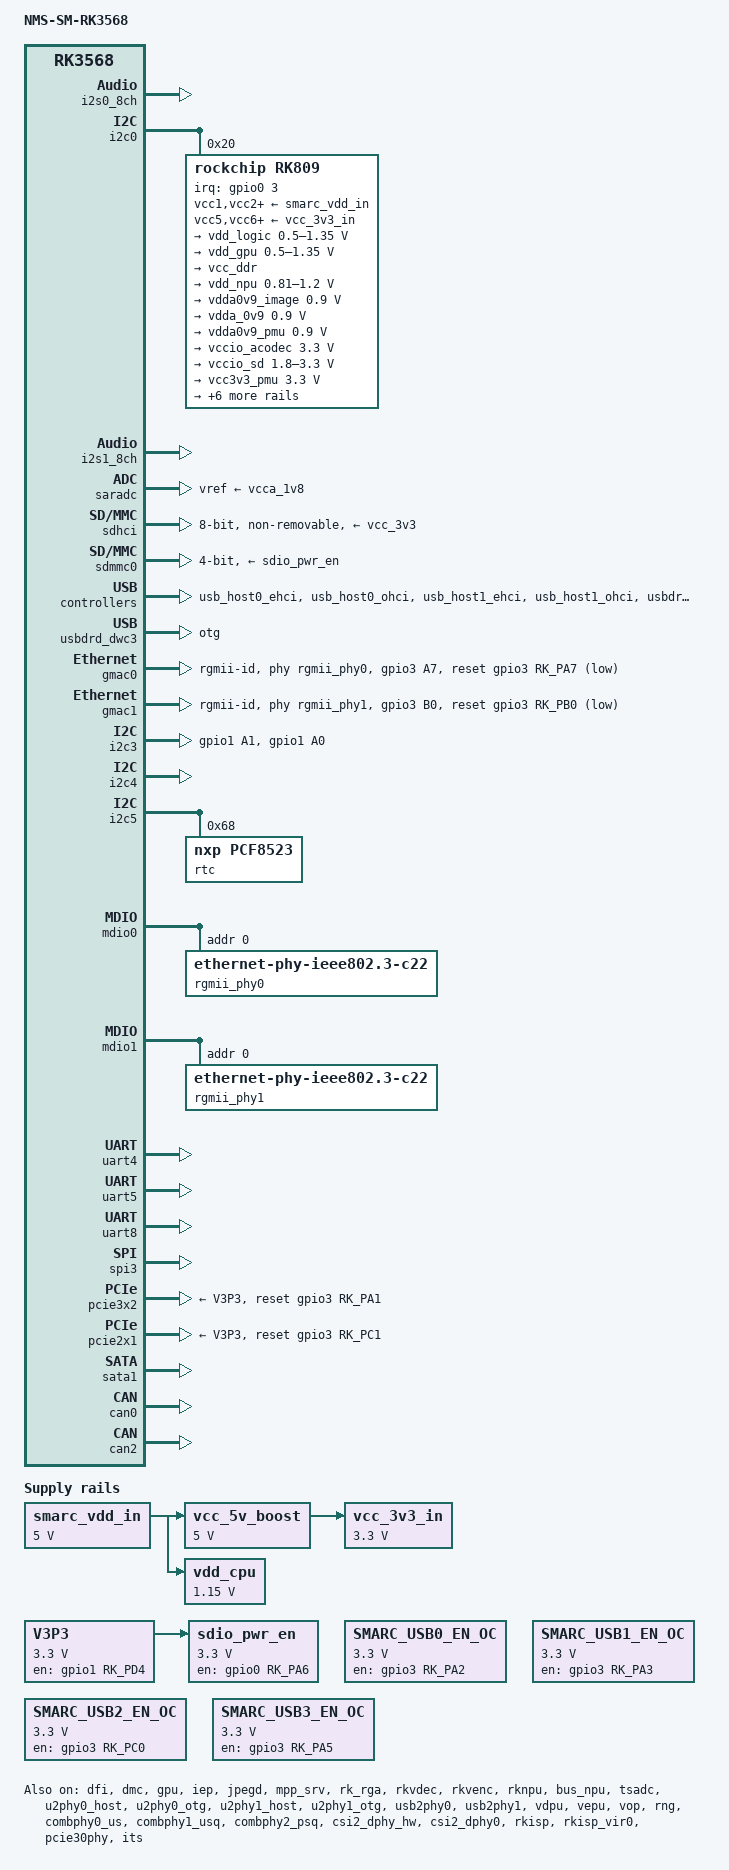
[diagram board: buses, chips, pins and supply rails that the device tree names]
// SPDX-License-Identifier: (GPL-2.0+ OR MIT)
/*
 * Copyright (c) 2022 InMys
 *
 */

 /dts-v1/;
#include <dt-bindings/gpio/gpio.h>
#include <dt-bindings/pwm/pwm.h>
#include <dt-bindings/pinctrl/rockchip.h>
#include <dt-bindings/input/rk-input.h>
#include <dt-bindings/display/drm_mipi_dsi.h>
#include <dt-bindings/sensor-dev.h>
#include <dt-bindings/gpio/gpio.h>
#include <dt-bindings/pinctrl/rockchip.h>
#include "rk3568.dtsi"

/ {
	model = "NMS-SM-RK3568";
	compatible = "inmys,rk3568-smarc-som", "rockchip,rk3568";

	hdmi_sound: hdmi-sound {
		status = "disabled";
		compatible = "simple-audio-card";
		simple-audio-card,format = "i2s";
		simple-audio-card,mclk-fs = <128>;
		simple-audio-card,name = "rockchip,hdmi";
		simple-audio-card,cpu {
			sound-dai = <&i2s0_8ch>;
		};
		simple-audio-card,codec {
			sound-dai = <&hdmi>;
		};
	};

	smarc_vdd_in: smarc-vdd-in {
		/* 3.0...5.25V main power input for som(from mother board) */
		/* NCP1589AMNTWG on mb, always enabled (12V->5V)*/
		compatible = "regulator-fixed";
		regulator-name = "SMARC_VDD_IN";
		regulator-always-on;
		regulator-boot-on;
		regulator-min-microvolt = <5000000>;
		regulator-max-microvolt = <5000000>;
	};

	V3P3: SMARC_CARRIER_PWR_ON {
		/* 3v3 main power on mother board*/
		/* NCP1589AMNTWG on mb, enabled by som by SMARC_CARRIER_PWR_ON (12V->3V3)*/
		/* CARRIER_PWR_ON->S154->CARRIER_PWR_ON */
		compatible = "regulator-fixed";
		enable-active-high;
#if 1
		gpio = <&gpio1 RK_PD4 GPIO_ACTIVE_HIGH>;
		pinctrl-names = "default";
		pinctrl-0 = <&smarc_carrier_pwr_on>;
		startup-delay-us = <10000>; 
#endif
		regulator-name = "SMARC_CARRIER_PWR_ON";
		regulator-min-microvolt = <3300000>;
		regulator-max-microvolt = <3300000>;

		regulator-boot-on;
		regulator-always-on; /*too many clients: */
		/* microsd, m2.sata, csi, can, rs232, mpcie, to 1v5(mpcie), to1v8, displayport, dsi/lvds headers, other headers, PCIex4, i2c mux, i2c gpio, fan ctrl, eeprom*/
	};

	sdio_pwr_en: SMARC_SDIO_PWR_EN {
		/* VT2 on mb, enabled by SMARC_SDIO_PWR_EN */
		/* SDIO_PWR_EN -> P37 -> SDIO_PWR_EN */
		compatible = "regulator-fixed";
		enable-active-high;
#if 1
		gpio = <&gpio0 RK_PA6 GPIO_ACTIVE_HIGH>;
		pinctrl-names = "default";
		pinctrl-0 = <&smarc_sdio_pwr_en>;
#endif
		regulator-name = "SMARC_SDIO_PWR_EN";
		regulator-min-microvolt = <3300000>;
		regulator-max-microvolt = <3300000>;

		regulator-boot-on;
		/*regulator-always-on;*/
		vin-supply = <&V3P3>; // NCP1589AMNTWG on mb
	};


#if 0
	rk_headset: rk-headset {
		status = "disabled";
		compatible = "rockchip_headset";
#if 0
		headset_gpio = <&gpio3 RK_PC2 GPIO_ACTIVE_LOW>;
		pinctrl-names = "default";
		pinctrl-0 = <&hp_det>;
#endif
	};
#endif

	vcc_5v_boost: vcc-5v-boost {
		/* boost from SMARC VDD_IN( 3.0V ... 5.25V) to 5V */
		/* variants: 0R or FAN48623UC50X */
		compatible = "regulator-fixed";
		regulator-name = "VCC_5V_BOOST";
		regulator-always-on;
		regulator-boot-on;
		regulator-min-microvolt = <5000000>;
		regulator-max-microvolt = <5000000>;
		vin-supply = <&smarc_vdd_in>;
	};

	vcc_3v3_in: vcc-3v3-in {
		/* 3v3 input for pmic (for LDOs)*/
		/* NCP1597BMNTWG (5V->3v3) on som*/
		compatible = "regulator-fixed";
		regulator-name = "VCC_3V3_IN";
		regulator-always-on;
		regulator-boot-on;
		regulator-min-microvolt = <3300000>;
		regulator-max-microvolt = <3300000>;
		vin-supply = <&vcc_5v_boost>;
	};


#if 0
	vcc5v0_host: vcc5v0-host-regulator {
		compatible = "regulator-fixed";
		enable-active-high;
		gpio = <&gpio0 RK_PD6 GPIO_ACTIVE_HIGH>;
		pinctrl-names = "default";
		pinctrl-0 = <&vcc5v0_host_en>;
		regulator-name = "vcc5v0_host";
		regulator-always-on;
	};
#endif

#if 0
	vcc5v0_otg: vcc5v0-otg-regulator {
		compatible = "regulator-fixed";
		enable-active-high;
		gpio = <&gpio0 RK_PA5 GPIO_ACTIVE_HIGH>;
		pinctrl-names = "default";
		pinctrl-0 = <&vcc5v0_otg_en>;
		regulator-name = "vcc5v0_otg";
	};
#endif

	vdd_cpu: vdd-cpu {
		vin-supply = <&smarc_vdd_in>;
		compatible = "regulator-fixed";
		regulator-name = "vdd_cpu";
		regulator-min-microvolt = <1150000>;
		regulator-max-microvolt = <1150000>;
		regulator-boot-on;
		regulator-always-on;
	};
#if 0
	vcc_1v8: vcc-1v8{
		vin-supply = <&smarc_vdd_in>;
		compatible = "regulator-fixed";
		regulator-name = "vcc_1v8";
		regulator-min-microvolt = <1800000>;
		regulator-max-microvolt = <1800000>;
		regulator-boot-on;
		regulator-always-on;
	};
	vcc_3v3: vcc-3v3{
		vin-supply = <&smarc_vdd_in>;
		compatible = "regulator-fixed";
		regulator-name = "vcc_3v3";
		regulator-min-microvolt = <3300000>;
		regulator-max-microvolt = <3300000>;
		regulator-boot-on;
		regulator-always-on;
	};
#endif

	USB0_EN_OC {
		/*USB2_HOST2_EN_OC# -> P62 -> USB0_EN_OC#*/
		compatible = "regulator-fixed";
		enable-active-high;
		gpio = <&gpio3 RK_PA2 GPIO_ACTIVE_HIGH>;
		pinctrl-names = "default";
		pinctrl-0 = <&smarc_usb0_power_en>;
		regulator-name = "SMARC_USB0_EN_OC";
		regulator-min-microvolt = <3300000>; // VCC_3V3
		regulator-max-microvolt = <3300000>;
		regulator-always-on;
	};
	USB1_EN_OC {
		/*USB2_HOST3_EN_OC# -> P67 -> USB1_EN_OC#*/
		compatible = "regulator-fixed";
		enable-active-high;
		gpio = <&gpio3 RK_PA3 GPIO_ACTIVE_HIGH>;
		pinctrl-names = "default";
		pinctrl-0 = <&smarc_usb1_power_en>;
		regulator-name = "SMARC_USB1_EN_OC";
		regulator-min-microvolt = <3300000>; // VCC_3V3
		regulator-max-microvolt = <3300000>;
		regulator-always-on;
	};
	USB2_EN_OC {
		/*USB3_HOST1_EN_OC# -> P71 -> USB2_EN_OC#*/
		compatible = "regulator-fixed";
		enable-active-high;
		gpio = <&gpio3 RK_PC0 GPIO_ACTIVE_HIGH>;
		pinctrl-names = "default";
		pinctrl-0 = <&smarc_usb2_power_en>;
		regulator-name = "SMARC_USB2_EN_OC";
		regulator-min-microvolt = <3300000>; // VCC_3V3
		regulator-max-microvolt = <3300000>;
		regulator-always-on;
	};
	USB3_EN_OC {
		/*USB3_OTG0_EN_OC# -> P74 -> USB3_EN_OC#*/
		compatible = "regulator-fixed";
		enable-active-high;
		gpio = <&gpio3 RK_PA5 GPIO_ACTIVE_HIGH>;
		pinctrl-names = "default";
		pinctrl-0 = <&smarc_usb3_power_en>;
		regulator-name = "SMARC_USB3_EN_OC";
		regulator-min-microvolt = <3300000>; // VCC_3V3
		regulator-max-microvolt = <3300000>;
		regulator-always-on;
	};

#if 0
	/*ToDo: clk_buf_en - clk?*/
	pcie_pi6c_oe: pcie-pi6c-oe-regulator {
		compatible = "regulator-fixed";
		//enable-active-high;
		gpio = <&gpio3 RK_PA7 GPIO_ACTIVE_LOW>;
		pinctrl-names = "default";
		pinctrl-0 = <&pcie_pi6c_oe_en>;
		regulator-name = "pcie_pi6c_oe_en";
		regulator-always-on;
	};
#endif

	test-power {
		status = "okay";
	};
};

&i2s0_8ch {
	status = "okay";
};

&cpu0 {
	cpu-supply = <&vdd_cpu>;
};

&dfi {
	status = "okay";
};

&dmc {
	center-supply = <&vdd_logic>;
	status = "okay";
};

&gpu {
	mali-supply = <&vdd_gpu>;
	status = "okay";
};

&i2c0 {
	status = "okay";

#if 0
	vdd_cpu: tcs4525@1c {
		/*compatible = "tcs,tcs452x";*/
		compatible = "fcs,fan53555";
		/*compatible = "silergy,syr828";*/
		reg = <0x60>;
		vin-supply = <&smarc_vdd_in>;
		regulator-compatible = "fan53555-reg";
		regulator-name = "vdd_cpu";
		/*regulator-min-microvolt = <712500>;*/
		regulator-min-microvolt = <600000>;
		regulator-max-microvolt = <1390000>;
		regulator-ramp-delay = <2300>;
		fcs,suspend-voltage-selector = <1>;
		regulator-boot-on;
		regulator-always-on;
		regulator-state-mem {
			regulator-off-in-suspend;
		};
	};
#endif

	rk809: pmic@20 {
		status = "okay";
		compatible = "rockchip,rk809";
		reg = <0x20>;
		interrupt-parent = <&gpio0>;
		interrupts = <3 IRQ_TYPE_LEVEL_LOW>;
#if 0
		pinctrl-names = "default", "pmic-sleep",
				"pmic-power-off", "pmic-reset";
		pinctrl-0 = <&pmic_int>;
		pinctrl-1 = <&soc_slppin_slp>, <&rk817_slppin_slp>;
		pinctrl-2 = <&soc_slppin_gpio>, <&rk817_slppin_pwrdn>;
		pinctrl-3 = <&soc_slppin_gpio>, <&rk817_slppin_rst>;
#else
		pinctrl-names = "default";
		pinctrl-0 = <&pmic_int>;
#endif

		rockchip,system-power-controller;
		wakeup-source;
		#clock-cells = <1>;
		clock-output-names = "rk808-clkout1", "rk808-clkout2";
		//fb-inner-reg-idxs = <2>;
		/* 1: rst regs (default in codes), 0: rst the pmic */
		pmic-reset-func = <0>;
		/* not save the PMIC_POWER_EN register in uboot */
		/*not-save-power-en = <1>;*/

		vcc1-supply = <&smarc_vdd_in>;
		vcc2-supply = <&smarc_vdd_in>;
		vcc3-supply = <&smarc_vdd_in>;
		vcc4-supply = <&smarc_vdd_in>;
		vcc5-supply = <&vcc_3v3_in>;
		vcc6-supply = <&vcc_3v3_in>;
		vcc7-supply = <&vcc_3v3_in>;
		vcc8-supply = <&vcc_3v3_in>;
		vcc9-supply = <&vcc_3v3_in>;

		pwrkey {
			status = "okay";
		};

		pinctrl_rk8xx: pinctrl_rk8xx {
			gpio-controller;
			#gpio-cells = <2>;

			rk817_slppin_null: rk817_slppin_null {
				pins = "gpio_slp";
				function = "pin_fun0";
			};

			rk817_slppin_slp: rk817_slppin_slp {
				pins = "gpio_slp";
				function = "pin_fun1";
			};

			rk817_slppin_pwrdn: rk817_slppin_pwrdn {
				pins = "gpio_slp";
				function = "pin_fun2";
			};

			rk817_slppin_rst: rk817_slppin_rst {
				pins = "gpio_slp";
				function = "pin_fun3";
			};
		};

		regulators {
			vdd_logic: DCDC_REG1 {
				regulator-always-on;
				regulator-boot-on;
				regulator-min-microvolt = <500000>;
				regulator-max-microvolt = <1350000>;
				regulator-init-microvolt = <900000>;
				regulator-ramp-delay = <6001>;
				regulator-initial-mode = <0x2>;
				regulator-name = "vdd_logic";
				regulator-state-mem {
					regulator-off-in-suspend;
				};
			};

			vdd_gpu: DCDC_REG2 {
				regulator-always-on;
				regulator-boot-on;
				regulator-min-microvolt = <500000>;
				regulator-max-microvolt = <1350000>;
				regulator-init-microvolt = <900000>;
				regulator-ramp-delay = <6001>;
				regulator-initial-mode = <0x2>;
				regulator-name = "vdd_gpu";
				regulator-state-mem {
					regulator-off-in-suspend;
				};
			};

			vcc_ddr: DCDC_REG3 {
				regulator-always-on;
				regulator-boot-on;
				regulator-initial-mode = <0x2>;
				regulator-name = "vcc_ddr";
				regulator-state-mem {
					regulator-on-in-suspend;
				};
			};
			vdd_npu: DCDC_REG4 {
				regulator-always-on;
				/*regulator-boot-on;*/
				regulator-min-microvolt =  <810000>;
				regulator-max-microvolt = <1200000>;
				regulator-init-microvolt = <900000>;
				regulator-ramp-delay = <6001>;
				regulator-initial-mode = <0x2>;
				regulator-name = "vdd_npu";
				regulator-state-mem {
					regulator-off-in-suspend;
				};
			};

			vdda0v9_image: LDO_REG1 {
				regulator-boot-on;
				regulator-always-on;
				regulator-min-microvolt = <900000>;
				regulator-max-microvolt = <900000>;
				regulator-name = "vdda0v9_image";
				regulator-state-mem {
					regulator-off-in-suspend;
				};
			};

			vdda_0v9: LDO_REG2 {
				/* R20,R21: Multi-Phy analog Power (usb3_otg, usb3_host, sata, pcie2x1) */
				/* U20,U21: PCIe3.0 analog Power */
				/* P11: PLL Analog Power*/
				regulator-always-on;
				regulator-boot-on;
				regulator-min-microvolt = <900000>;
				regulator-max-microvolt = <900000>;
				regulator-name = "vdda_0v9";
				regulator-state-mem {
					regulator-off-in-suspend;
				};
			};

			vdda0v9_pmu: LDO_REG3 {
				regulator-always-on;
				regulator-boot-on;
				regulator-min-microvolt = <900000>;
				regulator-max-microvolt = <900000>;
				regulator-name = "vdda0v9_pmu";
				regulator-state-mem {
					regulator-on-in-suspend;
					regulator-suspend-microvolt = <900000>;
				};
			};

			/* Not used */
			vccio_acodec: LDO_REG4 {
				regulator-always-on;
				regulator-boot-on;

				regulator-min-microvolt = <3300000>;
				regulator-max-microvolt = <3300000>;
				regulator-name = "vccio_acodec";
				regulator-state-mem {
					regulator-off-in-suspend;
				};
			};

			vccio_sd: LDO_REG5 {
				regulator-always-on;
				regulator-boot-on;
				regulator-min-microvolt = <1800000>;
				/*regulator-min-microvolt = <3300000>;*/
				regulator-max-microvolt = <3300000>;
				/*regulator-max-microvolt = <1800000>;*/
				regulator-name = "vccio_sd";
				regulator-state-mem {
					regulator-off-in-suspend;
				};
			};

			vcc3v3_pmu: LDO_REG6 {
				regulator-always-on;
				regulator-boot-on;
				regulator-min-microvolt = <3300000>;
				regulator-max-microvolt = <3300000>;
				regulator-name = "vcc3v3_pmu";
				regulator-state-mem {
					regulator-on-in-suspend;
					regulator-suspend-microvolt = <3300000>;
				};
			};

			vcca_1v8: LDO_REG7 {
				/* R22: Multi-Phy analog Power (usb3_otg, usb3_host, sata, pcie2x1) */
				/* U22: PCIe3.0 analog Power */
				/* N10: PLL Analog Power */
				/* H22: SARADC Analog Power*/
				regulator-always-on;
				regulator-boot-on;
				regulator-min-microvolt = <1800000>;
				regulator-max-microvolt = <1800000>;
				regulator-name = "vcca_1v8";
				regulator-state-mem {
					regulator-off-in-suspend;
				};
			};

			vcca1v8_pmu: LDO_REG8 {
				regulator-always-on;
				regulator-boot-on;
				regulator-min-microvolt = <1800000>;
				regulator-max-microvolt = <1800000>;
				regulator-name = "vcca1v8_pmu";
				regulator-state-mem {
					regulator-on-in-suspend;
					regulator-suspend-microvolt = <1800000>;
				};
			};

			vcca1v8_image: LDO_REG9 {
				regulator-always-on;
				regulator-boot-on;
				regulator-min-microvolt = <1800000>;
				regulator-max-microvolt = <1800000>;
				regulator-name = "vcca1v8_image";
				regulator-state-mem {
					regulator-off-in-suspend;
				};
			};
#if 1
			vcc_1v8: DCDC_REG5 {
				regulator-always-on;
				regulator-boot-on;
				regulator-min-microvolt = <1800000>;
				regulator-max-microvolt = <1800000>;
				regulator-name = "vcc_1v8";
				regulator-state-mem {
					regulator-off-in-suspend;
				};
			};
#endif
#if 1
			vcc_3v3: SWITCH_REG1 {
				regulator-always-on;
				regulator-boot-on;
				regulator-name = "vcc_3v3";
				regulator-min-microvolt = <3300000>;
				regulator-max-microvolt = <3300000>;
				regulator-state-mem {
					regulator-off-in-suspend;
				};
			};

			/* Not used */
			rk809_swout2: SWITCH_REG2 {
				regulator-name = "rk809_swout2";
				regulator-state-mem {
					regulator-off-in-suspend;
				};
			};
#endif
		};
	};
};

#if 1
&power {
	/*pd_npu-supply = <&vdd_npu>;*/

/*
	pd_vpu-supply = <&vdd_npu>;
	pd_rga-supply = <&vdd_npu>;
	pd_rkvenc-supply = <&vdd_npu>;
	pd_rkvdec-supply = <&vdd_npu>;
	pd_vi-supply = <&vdd_npu>;
*/

};
/*
&pmu {
	pd_npu-supply = <&vdd_npu>;

};
*/
#endif



&i2s1_8ch {
	status = "okay";
	rockchip,clk-trcm = <1>;
	pinctrl-names = "default";
	pinctrl-0 = <&i2s1m0_sclktx
		     &i2s1m0_lrcktx
		     &i2s1m0_sdi0
		     &i2s1m0_sdo0>;
};

&iep {
	status = "okay";
};

&iep_mmu {
	status = "okay";
};

&jpegd {
	status = "okay";
};

&jpegd_mmu {
	status = "okay";
};

&mpp_srv {
	status = "okay";
};

&pmu_io_domains {
	status = "okay";
	pmuio1-supply = <&vcc3v3_pmu>;
	pmuio2-supply = <&vcc_1v8>;
	vccio1-supply = <&vcc_1v8>;
	vccio2-supply = <&vcc_1v8>;
	vccio3-supply = <&vccio_sd>;
	vccio4-supply = <&vcc_1v8>;
	vccio5-supply = <&vcc_3v3>;
	vccio6-supply = <&vcc_1v8>;
	vccio7-supply = <&vcc_1v8>;
};

&rk_rga {
	status = "okay";
};

&rkvdec {
	status = "okay";
};

&rkvdec_mmu {
	status = "okay";
};

&rkvenc {
	venc-supply = <&vdd_logic>;
	status = "okay";
};

&rkvenc_mmu {
	status = "okay";
};

#if 1
&rknpu {
	rknpu-supply = <&vdd_npu>;
	status = "okay";
	/*status = "disabled";*/
};
#endif

&rknpu_mmu {
	status = "okay";
};

&reserved_memory {
	abc: abc@80900000{
		reg = <0x0 0x80900000 0x0 0x100000>;
	};
};

&bus_npu {
	/*bus-supply = <&vdd_logic>;*/
	bus-supply = <&vdd_npu>;
	pvtm-supply = <&vdd_cpu>;
	status = "okay";
};

&saradc {
	status = "okay";
	vref-supply = <&vcca_1v8>;
};

&sdhci {
	bus-width = <8>;
	supports-emmc;
	non-removable;
	max-frequency = <200000000>;
	status = "okay";
	/*status = "disabled";*/
	vmmc-supply = <&vcc_3v3>;
	vqmmc-supply = <&vcc_1v8>;

	pinctrl-names = "default";
	pinctrl-0 = <&emmc_bus8 &emmc_clk &emmc_cmd &emmc_datastrobe &emmc_rstnout>;
};

&sdmmc0 {
	max-frequency = <150000000>;
	supports-sd;
	bus-width = <4>;
	cap-mmc-highspeed;
	cap-sd-highspeed;
	disable-wp;
	sd-uhs-sdr104;
	vmmc-supply = <&sdio_pwr_en>;
	vqmmc-supply = <&vccio_sd>;
	pinctrl-names = "default";
	pinctrl-0 = <&sdmmc0_bus4 &sdmmc0_clk &sdmmc0_cmd &sdmmc0_det>;
	status = "okay";
};

&tsadc {
	status = "okay";
};

&u2phy0_host {
	/*phy-supply = <&vcc5v0_host>;*/
	status = "okay";
};

&u2phy0_otg {
	/*vbus-supply = <&vcc5v0_otg>;*/
	status = "okay";
};

&u2phy1_host {
	/*phy-supply = <&vcc5v0_host>;*/
	status = "okay";
};

&u2phy1_otg {
	/*phy-supply = <&vcc5v0_host>;*/
	status = "okay";
};

&usb2phy0 {
	status = "okay";
};

&usb2phy1 {
	status = "okay";
};

&usb_host0_ehci {
	status = "okay";
};

&usb_host0_ohci {
	status = "okay";
};

&usb_host1_ehci {
	status = "okay";
};

&usb_host1_ohci {
	status = "okay";
};

&usbdrd_dwc3 {
	dr_mode = "otg";
	/*dr_mode = "peripheral";*/
	extcon = <&usb2phy0>;
	status = "okay";
};

&usbdrd30 {
	status = "okay";
};

&usbhost_dwc3 {
	status = "okay";
};

&usbhost30 {
	status = "okay";
};

&vdpu {
	status = "okay";
};

&vdpu_mmu {
	status = "okay";
};

&vepu {
	status = "okay";
};

&vepu_mmu {
	status = "okay";
};

&vop {
	status = "okay";
	assigned-clocks = <&cru DCLK_VOP0>, <&cru DCLK_VOP1>;
	assigned-clock-parents = <&pmucru PLL_HPLL>, <&cru PLL_VPLL>;
};

&vop_mmu {
	status = "okay";
};

&pinctrl {

	pmic {
		pmic_int: pmic_int {
			rockchip,pins =
				<0 RK_PA3 RK_FUNC_GPIO &pcfg_pull_up>;
		};

		soc_slppin_gpio: soc_slppin_gpio {
			rockchip,pins =
				<0 RK_PA2 RK_FUNC_GPIO &pcfg_output_low_pull_down>;
		};

		soc_slppin_slp: soc_slppin_slp {
			rockchip,pins =
				<0 RK_PA2 RK_FUNC_1 &pcfg_pull_up>;
		};

		soc_slppin_rst: soc_slppin_rst {
			rockchip,pins =
				<0 RK_PA2 RK_FUNC_2 &pcfg_pull_none>;
		};

		spk_ctl_gpio: spk_ctl_gpio {
			rockchip,pins = <3 RK_PC5 RK_FUNC_GPIO &pcfg_pull_up>;
		};
	};

#if 0
	usb {
		vcc5v0_host_en: vcc5v0-host-en {
			rockchip,pins = <0 RK_PD6 RK_FUNC_GPIO &pcfg_pull_none>;
		};

		vcc5v0_otg_en: vcc5v0-otg-en {
			rockchip,pins = <0 RK_PA5 RK_FUNC_GPIO &pcfg_pull_none>;
		};
	};
#endif
};


//#include "rk3568-linux.dtsi"
/*start rk3568-linux.dtsi*/
/ {
	chosen: chosen {
		bootargs = "earlycon=uart8250,mmio32,0xfe660000 console=ttyFIQ0 root=PARTLABEL=rootfs rootfstype=ext4 ro rootwait overlayroot=device:dev=PARTLABEL=userdata,fstype=ext4,mkfs=1 coherent_pool=1m systemd.gpt_auto=0 cgroup_enable=memory swapaccount=1";
	};
	fiq-debugger {
		compatible = "rockchip,fiq-debugger";
		rockchip,serial-id = <2>;
		rockchip,wake-irq = <0>;
		/* If enable uart uses irq instead of fiq */
		rockchip,irq-mode-enable = <1>;
		rockchip,baudrate = <1500000>;  /* Only 115200 and 1500000 */
		interrupts = <GIC_SPI 252 IRQ_TYPE_LEVEL_LOW>;
		pinctrl-names = "default";
		pinctrl-0 = <&uart2m0_xfer>;
		status = "okay";
	};
	debug: debug@fd904000 {
		compatible = "rockchip,debug";
		reg = <0x0 0xfd904000 0x0 0x1000>,
			<0x0 0xfd905000 0x0 0x1000>,
			<0x0 0xfd906000 0x0 0x1000>,
			<0x0 0xfd907000 0x0 0x1000>;
	};
	cspmu: cspmu@fd90c000 {
		compatible = "rockchip,cspmu";
		reg = <0x0 0xfd90c000 0x0 0x1000>,
			<0x0 0xfd90d000 0x0 0x1000>,
			<0x0 0xfd90e000 0x0 0x1000>,
			<0x0 0xfd90f000 0x0 0x1000>;
	};
};

#if 0
&hdmi_sound {
	status = "okay";
	rockchip,jack-det;
};
#endif

&hdmi {
	//pinctrl-0 = <&hdmitx_scl &hdmitx_sda &hdmitxm0_cec>;
	pinctrl-0 = <&hdmitx_scl &hdmitx_sda>; // no HDMI CEC pin on SMARC connector (&hdmitxm0_cec)
};

&reserved_memory {
	ramoops: ramoops@110000 {
		compatible = "ramoops";
		reg = <0x0 0x110000 0x0 0xf0000>;
		record-size = <0x20000>;
		console-size = <0x80000>;
		ftrace-size = <0x00000>;
		pmsg-size = <0x50000>;
	};
};

&rng {
	status = "okay";
};

&rockchip_suspend {
	status = "okay";
};

&vop {
	disable-win-move;
};
/*end rk3568-linux.dtsi*/



&combphy0_us {
	status = "okay";
};

&combphy1_usq {
	status = "okay";
};

&combphy2_psq {
	status = "okay";
};

&csi2_dphy_hw {
	status = "okay";
};

&csi2_dphy0 {
	status = "okay";

	ports {
		#address-cells = <1>;
		#size-cells = <0>;
		port@0 {
			reg = <0>;
			#address-cells = <1>;
			#size-cells = <0>;
			mipi_in_ucam0: endpoint@1 {
				reg = <1>;
				remote-endpoint = <&ucam_out0>;
				data-lanes = <1 2>;
			};
#if 0
			mipi_in_ucam1: endpoint@2 {
				reg = <2>;
				remote-endpoint = <&gc8034_out>;
				data-lanes = <1 2 3 4>;
			};
			mipi_in_ucam2: endpoint@3 {
				reg = <3>;
				remote-endpoint = <&ov5695_out>;
				data-lanes = <1 2>;
			};
#endif
		};
		port@1 {
			reg = <1>;
			#address-cells = <1>;
			#size-cells = <0>;

			csidphy_out: endpoint@0 {
				reg = <0>;
				remote-endpoint = <&isp0_in>;
			};
		};
	};
};

&gmac0 {
	phy-mode = "rgmii-id";

	snps,reset-gpio = <&gpio3 RK_PA7 GPIO_ACTIVE_LOW>;
	snps,reset-active-low;
	/* Reset time is 20ms, 100ms for rtl8211f */
	snps,reset-delays-us = <0 20000 100000>;

#if 0
	clock_in_out = "input";
	assigned-clocks = <&cru SCLK_GMAC0_RX_TX>, <&cru SCLK_GMAC0>;
	assigned-clock-parents = <&cru SCLK_GMAC0_RGMII_SPEED>, <&gmac0_clkin>;
	pinctrl-names = "default";
	pinctrl-0 = <&gmac0_miim
		     &gmac0_tx_bus2
		     &gmac0_rx_bus2
		     &gmac0_rgmii_clk
		     &gmac0_rgmii_bus
		     &gmac0_clkinout
		     &gmac0_gpio>;
#else
	clock_in_out = "output";
	assigned-clocks = <&cru SCLK_GMAC0_RX_TX>, <&cru SCLK_GMAC0>;
	assigned-clock-parents = <&cru SCLK_GMAC0_RGMII_SPEED>, <&cru CLK_MAC0_2TOP>;
	assigned-clock-rates = <0>, <125000000>;
	pinctrl-names = "default";
	pinctrl-0 = <&gmac0_miim
		     &gmac0_tx_bus2
		     &gmac0_rx_bus2
		     &gmac0_rgmii_clk
		     &gmac0_rgmii_bus
		     &gmac0_gpio>;
#endif


	tx_delay = <0x3c>;
	rx_delay = <0x2f>;

	phy-handle = <&rgmii_phy0>;
	status = "okay";
};

&gmac1 {
	phy-mode = "rgmii-id";
	clock_in_out = "input";

	snps,reset-gpio = <&gpio3 RK_PB0 GPIO_ACTIVE_LOW>;
	snps,reset-active-low;
	/* Reset time is 20ms, 100ms for rtl8211f */
	snps,reset-delays-us = <0 20000 100000>;

#if 0
	clock_in_out = "input";
	assigned-clocks = <&cru SCLK_GMAC1_RX_TX>, <&cru SCLK_GMAC1>;
	assigned-clock-parents = <&cru SCLK_GMAC1_RGMII_SPEED>, <&gmac1_clkin>;

	pinctrl-names = "default";
	pinctrl-0 = <&gmac1m1_miim
		     &gmac1m1_tx_bus2
		     &gmac1m1_rx_bus2
		     &gmac1m1_rgmii_clk
		     &gmac1m1_rgmii_bus
		     &gmac1m1_clkinout
		     &gmac1_gpio>;
#else
	clock_in_out = "output";
	assigned-clocks = <&cru SCLK_GMAC1_RX_TX>, <&cru SCLK_GMAC1>;
	assigned-clock-parents = <&cru SCLK_GMAC1_RGMII_SPEED>, <&cru CLK_MAC1_2TOP>;
	assigned-clock-rates = <0>, <125000000>;
	pinctrl-names = "default";
	pinctrl-0 = <&gmac1m1_miim
		&gmac1m1_tx_bus2
		&gmac1m1_rx_bus2
		&gmac1m1_rgmii_clk
		&gmac1m1_rgmii_bus
		&gmac1_gpio>;
#endif


	tx_delay = <0x4f>;
	rx_delay = <0x26>;

	phy-handle = <&rgmii_phy1>;
	status = "okay";
};


#if 0
/*SMARC: I2C_LCD*/
/* conflict with can2!!! (SMARC CAN1)*/
&i2c2{
	status = "okay";
	pinctrl-0 = <&i2c2m1_xfer>;
};
#endif

/*SMARC: I2C_GP*/
&i2c3{
	status = "okay";
	pinctrl-0 = <&i2c3m0_xfer_my>;
};

/*SMARC: I2C_CAM0*/
&i2c4{
	status = "okay";
};


&i2c5 {
	status = "okay";
	/*clk_gen*/

	/*rtc*/
	rtc: pcf8523@68 {
		compatible = "nxp,pcf8523";
		reg = <0x68>;
		quartz-load-femtofarads = <12500>;
	};
};

&mdio0 {
	rgmii_phy0: phy@0 {
		compatible = "ethernet-phy-ieee802.3-c22";
		reg = <0x0>;
	};
};

&mdio1 {
	rgmii_phy1: phy@0 {
		compatible = "ethernet-phy-ieee802.3-c22";
		reg = <0x0>;
	};
};


&rkisp {
	status = "okay";
};

&rkisp_mmu {
	status = "okay";
};

&rkisp_vir0 {
	status = "okay";

	port {
		#address-cells = <1>;
		#size-cells = <0>;

		isp0_in: endpoint@0 {
			reg = <0>;
			remote-endpoint = <&csidphy_out>;
		};
	};
};

&uart4 {
	status = "okay";
	pinctrl-names = "default";
	pinctrl-0 = <&uart4m1_xfer>;
};

&uart5 {
	status = "okay";
	pinctrl-names = "default";
	pinctrl-0 = <&uart5m1_xfer>;
};


&uart8 {
	status = "okay";
	pinctrl-names = "default";
	pinctrl-0 = <&uart8m0_xfer &uart8m0_ctsn>;
};

&spi3 {
	status = "okay";
	pinctrl-0 = <&spi3m1_cs0 &spi3m1_cs1 &spi3m1_pins>;
	pinctrl-1 = <&spi3m1_cs0 &spi3m1_cs1 &spi3m1_pins_hs>;
};


&pcie30phy {
       status = "okay";
};

&pcie3x2 {
        reset-gpios = <&gpio3 RK_PA1 GPIO_ACTIVE_HIGH>;
	vpcie3v3-supply = <&V3P3>;
	status = "okay";
};

&pcie2x1 {
	status = "okay";
	reset-gpios = <&gpio3 RK_PC1 GPIO_ACTIVE_HIGH>;
	vpcie3v3-supply = <&V3P3>;
};

&its {
    status = "okay";
};

&uart8 {
	status = "okay";
};

&rk809 {
    rtc {
        status = "disabled";
    };
};

&sata1 {
	status = "okay";
};

&can0 {
	status = "okay";
/*
	compatible = "rockchip,can-1.0";
	assigned-clocks = <&cru CLK_CAN0>;
	assigned-clock-rates = <200000000>;
*/
	pinctrl-names = "default";
	pinctrl-0 = <&can0m0_pins>;
};

/* conflict with i2c2: SMARC I2C_LCD*/
&can2 {
	status = "okay";
/*
	compatible = "rockchip,can-1.0";
	assigned-clocks = <&cru CLK_CAN2>;
	assigned-clock-rates = <300000000>;
*/
	pinctrl-names = "default";
	pinctrl-0 = <&can2m0_pins>;
};

&pinctrl {

	usb {
		smarc_usb0_power_en: smarc_usb0_power_en {
			rockchip,pins = <3 RK_PA2 RK_FUNC_GPIO &pcfg_pull_none>;
		};
		smarc_usb1_power_en: smarc_usb1_power_en {
			rockchip,pins = <3 RK_PA3 RK_FUNC_GPIO &pcfg_pull_none>;
		};
		smarc_usb2_power_en: smarc_usb2_power_en {
			rockchip,pins = <3 RK_PC0 RK_FUNC_GPIO &pcfg_pull_none>;
		};
		smarc_usb3_power_en: smarc_usb3_power_en {
			rockchip,pins = <3 RK_PA5 RK_FUNC_GPIO &pcfg_pull_none>;
		};

	};
#if 0
	pcie {
		pcie_pi6c_oe_en: pcie-pi6c-oe-en {
			rockchip,pins = <3 RK_PA7 RK_FUNC_GPIO &pcfg_pull_none>;
		};
	};
#endif
	eth{
		gmac0_gpio: gmac0_gpio {
			rockchip,pins = <3 RK_PA7 RK_FUNC_GPIO &pcfg_pull_none>;
		};
		gmac1_gpio: gmac1_gpio {
			rockchip,pins = <3 RK_PB0 RK_FUNC_GPIO &pcfg_pull_none>;
		};
	};
	sdcard {
		smarc_sdio_pwr_en: smarc-sdio-pwr-en-gpio {
			rockchip,pins = <0 RK_PA6 RK_FUNC_GPIO &pcfg_pull_none>;
		};
	};
	mother-board {
		smarc_carrier_pwr_on: smarc-carrier-pwr-on {
			rockchip,pins = <1 RK_PD4 RK_FUNC_GPIO &pcfg_pull_none>;
		};
	};

	hog {
		sata_usb3_mux_hog: sata-usb3-hog {
			rockchip,pins = <3 RK_PB5 RK_FUNC_GPIO &pcfg_pull_down>; // sata
			// rockchip,pins = <3 RK_PB5 RK_FUNC_GPIO &pcfg_pull_up>; // usb3
		};
	};

	lcd0 {
		lcd0_bklt_en_pins: lcd0-bklt-en {
			rockchip,pins =
				< 0 RK_PB0 RK_FUNC_GPIO &pcfg_pull_none>;
		};
		lcd0_vdd_en_pins: lcd0-vdd-en{
			rockchip,pins =
				< 0 RK_PC7 RK_FUNC_GPIO &pcfg_pull_none>;
		};
	};

	i2c3{
		i2c3m0_xfer_my: i2c3m0-xfer {
			rockchip,pins =
				/* i2c3_sclm0 */
				<1 RK_PA1 1 &pcfg_pull_none_drv_level_8>,
				/* i2c3_sdam0 */
				<1 RK_PA0 1 &pcfg_pull_none_drv_level_8>;
		};
	};
};
